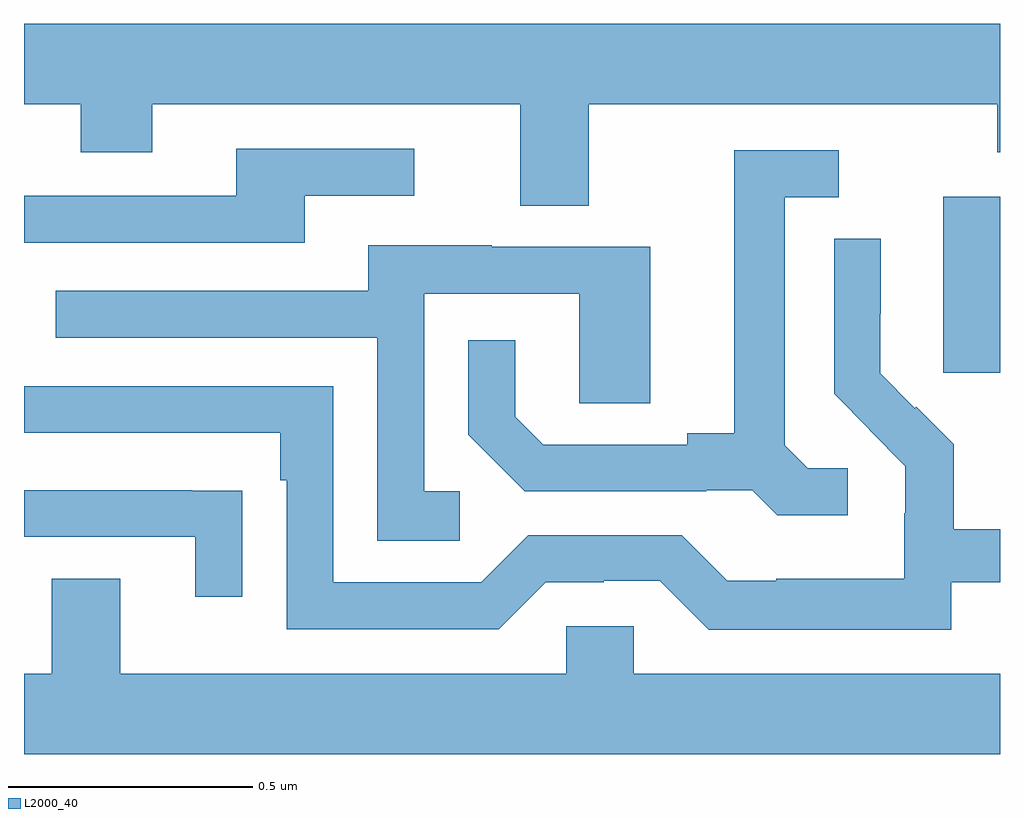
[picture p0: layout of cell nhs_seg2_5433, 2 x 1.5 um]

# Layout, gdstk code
import gdstk
lib = gdstk.Library(unit=1e-6, precision=1e-09)
def R(c, l, rs):  # rectangles x0, y0, x1, y1
    for r in rs: c.add(gdstk.rectangle(r[:2], r[2:], *l))
def P(c, l, *ps):  # polygons
    for p in ps: c.add(gdstk.Polygon(p, *l))
L2000_40 = (2000, 40)

nhs_seg2_5433 = lib.new_cell('nhs_seg2_5433')
R(nhs_seg2_5433, L2000_40, [(180.884,605.793,181,606.154)])
P(nhs_seg2_5433, L2000_40, [(180.157,606.344),(180.994,606.344),(180.994,606.245),(181,606.245),(181,606.508),(179,606.508),(179,606.344),(179.116,606.344),(179.116,606.245),(179.263,606.245),(179.263,606.344),(180.017,606.344),(180.017,606.136),(180.157,606.136)],
  [(179.575,606.156),(179.8,606.156),(179.8,606.252),(179.435,606.252),(179.435,606.156),(179,606.156),(179,606.06),(179.575,606.06)],
  [(180.688,605.598),(180.606,605.598),(180.559,605.645),(180.559,606.153),(180.67,606.153),(180.67,606.249),(180.455,606.249),(180.455,605.669),(180.359,605.669),(180.359,605.646),(180.064,605.646),(180.007,605.703),(180.007,605.86),(179.91,605.86),(179.91,605.666),(180.026,605.55),(180.398,605.55),(180.398,605.553),(180.492,605.553),(180.544,605.501),(180.688,605.501)],
  [(180.9,605.364),(181,605.364),(181,605.473),(180.905,605.473),(180.905,605.647),(180.828,605.724),(180.825,605.721),(180.755,605.792),(180.755,605.914),(180.756,605.914),(180.756,606.068),(180.66,606.068),(180.66,605.75),(180.733,605.677),(180.732,605.676),(180.806,605.602),(180.806,605.505),(180.804,605.505),(180.804,605.371),(180.541,605.371),(180.541,605.367),(180.441,605.367),(180.348,605.46),(180.033,605.46),(179.937,605.364),(179.634,605.364),(179.634,605.766),(179,605.766),(179,605.67),(179.525,605.67),(179.525,605.573),(179.538,605.573),(179.538,605.268),(179.973,605.268),(180.069,605.364),(180.188,605.364),(180.188,605.367),(180.303,605.367),(180.403,605.267),(180.9,605.267)],
  [(179.893,605.55),(179.82,605.55),(179.82,605.955),(180.138,605.955),(180.138,605.731),(180.283,605.731),(180.283,606.051),(179.959,606.051),(179.959,606.055),(179.705,606.055),(179.705,605.961),(179.065,605.961),(179.065,605.865),(179.724,605.865),(179.724,605.449),(179.893,605.449)],
  [(179.447,605.552),(179.345,605.552),(179.345,605.553),(179,605.553),(179,605.457),(179.351,605.457),(179.351,605.334),(179.447,605.334)],
  [(181,605.176),(180.249,605.176),(180.249,605.274),(180.111,605.274),(180.111,605.176),(179.197,605.176),(179.197,605.371),(179.057,605.371),(179.057,605.176),(179,605.176),(179,605.012),(181,605.012)])

lib.write_gds('nhs_seg2_5433.gds')
